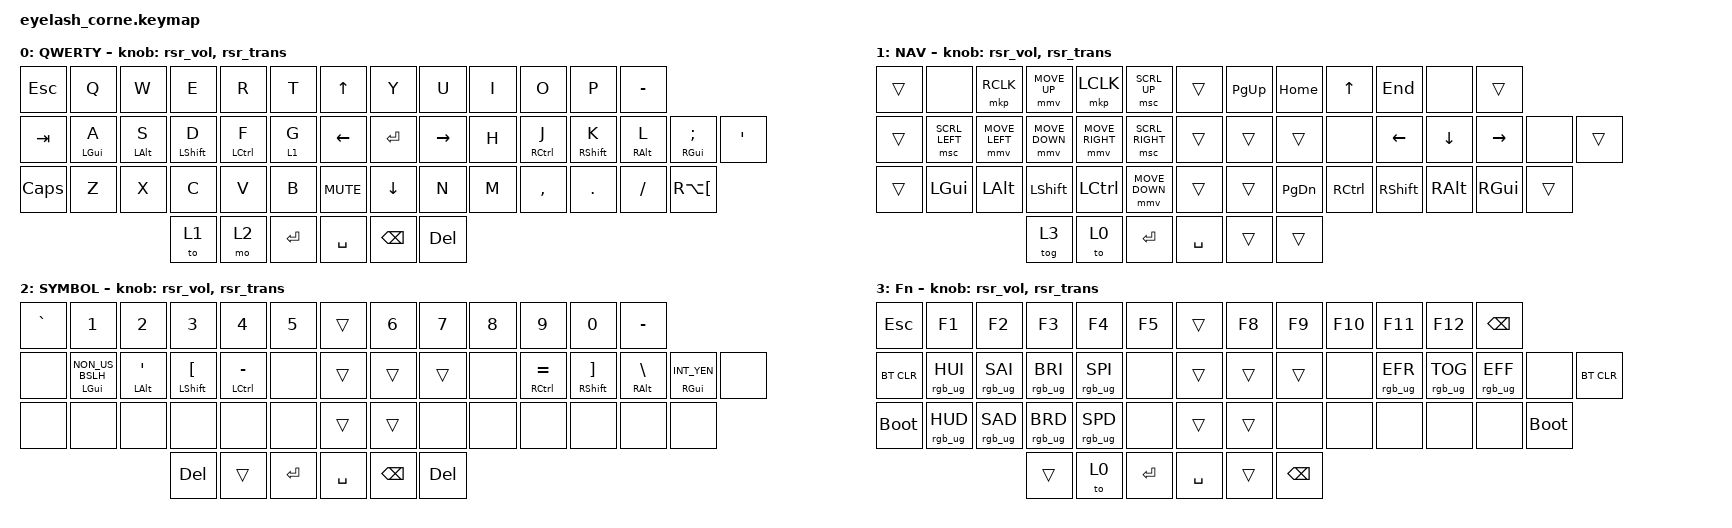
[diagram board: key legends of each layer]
/*
 * Nicolas's Corne keymap ported to the Eyelash Corne (48 keys + encoder).
 * Source: zmk-corne_no_display/config/corne.keymap
 *
 * The 42 Corne keys sit in the same places as on the Corne.
 * The 6 middle keys keep the vendor defaults on the base layer
 * (Up, Left, Enter, Right, Down, encoder press = Mute) and are
 * transparent on every other layer, so they work everywhere.
 * Encoder turns volume up and down on all layers.
 */

#define ZMK_POINTING_DEFAULT_MOVE_VAL 1200
#define ZMK_POINTING_DEFAULT_SCRL_VAL 25

#include <input/processors.dtsi>
#include <zephyr/dt-bindings/input/input-event-codes.h>
#include <behaviors.dtsi>
#include <behaviors/runtime-sensor-rotate.dtsi>
#include <dt-bindings/zmk/bt.h>
#include <dt-bindings/zmk/keys.h>
#include <dt-bindings/zmk/outputs.h>
#include <dt-bindings/zmk/pointing.h>
#include <dt-bindings/zmk/rgb.h>

&soft_off { hold-time-ms = <2000>; };

/* ── Extended tapping-term timers ─────────────────────────────────────────── */

/* Mod-tap: Settings to try to reduce accidenta setting off of home row mods */
&mt {
    tapping-term-ms = <280>;
    quick-tap-ms = <175>;
    require-prior-idle-ms = <150>;
    flavor = "balanced";
};

/* Layer-tap: similar with what is setup for mod-tap */
&lt {
    tapping-term-ms = <280>;
    quick-tap-ms = <175>;
    require-prior-idle-ms = <150>;
};

/* ── Mouse / scroll tuning ────────────────────────────────────────────────── */

&mmv {
    time-to-max-speed-ms = <500>;
    acceleration-exponent = <1>;
    trigger-period-ms = <16>;
};

&msc {
    acceleration-exponent = <1>;
    time-to-max-speed-ms = <100>;
    delay-ms = <0>;
};

/ {
    behaviors {
        td0: td0 {
            compatible = "zmk,behavior-tap-dance";
            display-name = "Shift/Caps Lock Tap Dance";
            #binding-cells = <0>;
            bindings = <&kp LEFT_SHIFT>, <&kp CAPS>;
        };

        /* ── Custom behavior for homerow shift ────────────────────────────────────── */
        hs: homerow_shift {
            // For SHIFT only — snappy, keeps up with fast typing
            compatible = "zmk,behavior-hold-tap";
            #binding-cells = <2>;
            tapping-term-ms = <200>;
            quick-tap-ms = <150>;
            require-prior-idle-ms = <50>;
            flavor = "balanced";
            bindings = <&kp>, <&kp>;
        };

        rsr_vol: rsr_vol {
            compatible = "zmk,behavior-runtime-sensor-rotate";
            #sensor-binding-cells = <0>;
            tap-ms = <5>;
            cw-binding = <&kp C_VOL_UP>;
            ccw-binding = <&kp C_VOL_DN>;
        };

        rsr_trans: rsr_trans {
            compatible = "zmk,behavior-runtime-sensor-rotate";
            #sensor-binding-cells = <0>;
            tap-ms = <0>;
        };
    };

    /* Hold Q + S + Z for 2 s to power off (press reset to wake) */
    combos {
        compatible = "zmk,combos";

        softoff {
            bindings = <&soft_off>;
            key-positions = <1 15 29>;
        };
    };

    keymap {
        compatible = "zmk,keymap";

        default_layer {
            display-name = "QWERTY";
            bindings = <
&kp ESC        &kp Q          &kp W          &kp E          &kp R          &kp T          &kp UP         &kp Y          &kp U          &kp I          &kp O          &kp P          &kp MINUS
&kp TAB        &mt LGUI A     &mt LALT S     &hs LSHFT D    &mt LCTRL F    &lt 1 G        &kp LEFT       &kp ENTER      &kp RIGHT      &kp H          &mt RCTRL J    &hs RSHFT K    &mt RALT L     &mt RGUI SEMI  &kp SQT
&kp CAPSLOCK   &kp Z          &kp X          &kp C          &kp V          &kp B          &kp C_MUTE     &kp DOWN       &kp N          &kp M          &kp COMMA      &kp DOT        &kp FSLH       &kp RA(LBKT)
                                             &to 1          &mo 2          &kp ENTER      &kp SPACE      &kp BSPC       &kp DEL
            >;

            sensor-bindings = <&rsr_vol &rsr_trans>;
        };

        lower_layer {
            display-name = "NAV";
            bindings = <
&trans           &none            &mkp RCLK        &mmv MOVE_UP     &mkp LCLK        &msc SCRL_UP     &trans           &kp PG_UP        &kp HOME         &kp UP           &kp END          &none            &trans
&trans           &msc SCRL_LEFT   &mmv MOVE_LEFT   &mmv MOVE_DOWN   &mmv MOVE_RIGHT  &msc SCRL_RIGHT  &trans           &trans           &trans           &none            &kp LEFT         &kp DOWN         &kp RIGHT        &none            &trans
&trans           &kp LGUI         &kp LALT         &kp LSHFT        &kp LCTRL        &mmv MOVE_DOWN   &trans           &trans           &kp PG_DN        &kp RCTRL        &kp RSHFT        &kp RALT         &kp RGUI         &trans
                                                   &tog 3           &to 0            &kp ENTER        &kp SPACE        &trans           &trans
            >;

            sensor-bindings = <&rsr_vol &rsr_trans>;
        };

        raise_layer {
            display-name = "SYMBOL";
            bindings = <
&kp GRAVE             &kp N1                &kp N2                &kp N3                &kp N4                &kp N5                &trans                &kp N6                &kp N7                &kp N8                &kp N9                &kp N0                &kp MINUS
&none                 &mt LGUI NON_US_BSLH  &mt LALT SQT          &mt LSHFT LBKT        &mt LCTRL MINUS       &none                 &trans                &trans                &trans                &none                 &mt RCTRL EQUAL       &mt RSHFT RBKT        &mt RALT BSLH         &mt RGUI INT_YEN      &none
&none                 &none                 &none                 &none                 &none                 &none                 &trans                &trans                &none                 &none                 &none                 &none                 &none                 &none
                                                                  &kp DEL               &trans                &kp ENTER             &kp SPACE             &kp BSPC              &kp DEL
            >;

            sensor-bindings = <&rsr_vol &rsr_trans>;
        };

        fn_layer {
            display-name = "Fn";
            bindings = <
&kp ESC          &kp F1           &kp F2           &kp F3           &kp F4           &kp F5           &trans           &kp F8           &kp F9           &kp F10          &kp F11          &kp F12          &kp BSPC
&bt BT_CLR       &rgb_ug RGB_HUI  &rgb_ug RGB_SAI  &rgb_ug RGB_BRI  &rgb_ug RGB_SPI  &none            &trans           &trans           &trans           &none            &rgb_ug RGB_EFR  &rgb_ug RGB_TOG  &rgb_ug RGB_EFF  &none            &bt BT_CLR
&bootloader      &rgb_ug RGB_HUD  &rgb_ug RGB_SAD  &rgb_ug RGB_BRD  &rgb_ug RGB_SPD  &none            &trans           &trans           &none            &none            &none            &none            &none            &bootloader
                                                   &trans           &to 0            &kp ENTER        &kp SPACE        &trans           &kp BSPC
            >;

            sensor-bindings = <&rsr_vol &rsr_trans>;
        };
    };
};
